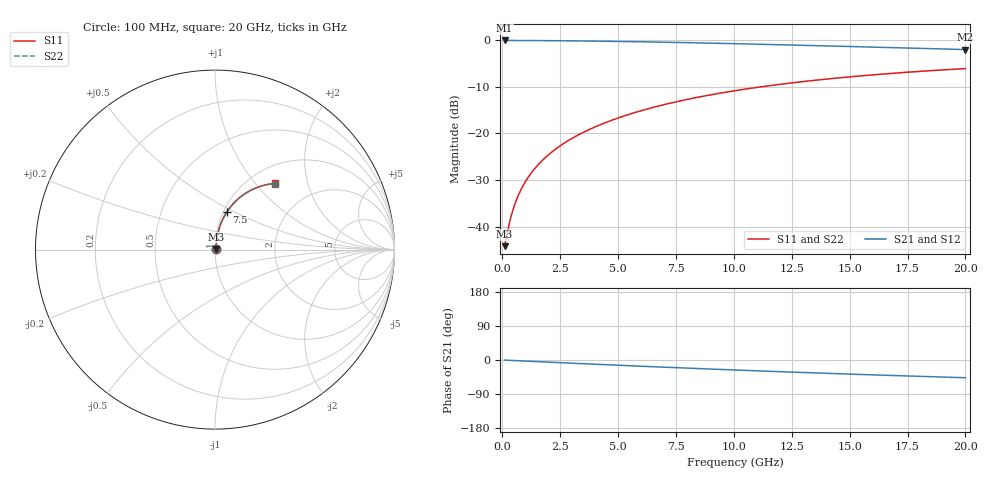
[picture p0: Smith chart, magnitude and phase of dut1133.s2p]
! Touchstone file exported from HFSS 2024.1.0
!  File:  C:/UserFiles/LocalFiles/RDL_TSV_Batchsim/temp_RDL_top_1133_1780047510.aedt
!  Generated:  05:40:42 PM May 29, 2026
!  Design:  RDL_top
!  Project:  temp_RDL_top_1133_1780047510
!  Setup:  Setup1
!  Solution:  Sweep
! Variables:
!  dtsv = 10.80580581um
!  hbump = 3um
!  htsv = 94.83um
!  ldown = 100um
!  lrdl = 577.52um
!  p = 40
!  p1 = 59.77um
!  rhole = 1um
!  t = 450um
!  tdown = 3.915915916um
!  trdl = 2.4um
!  wdown = 15.38538539um
!  wrdl = 16.39um
# GHz S MA R 50.000000
! Terminal data exported
! Port[1] = Box2_T1
! Port[2] = Box2_T2
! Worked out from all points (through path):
!   200 points, 100 MHz to 20 GHz, reference 50 ohm
!   highest |S21| = -0.05 dB at 100 MHz (marker M1); lowest = -2.0 dB at 20 GHz (marker M2)
!   group delay of S21, straight-line fit = 6.5 ps
!   lowest |S11| = -44.2 dB at 100 MHz (marker M3), VSWR 1.01, Z = 50.5 + j0.312 ohm
!   |S11| at or under -10 dB: start of sweep to 11.16 GHz
!   |S22| runs from -44.2 to -6.1 dB; largest |S21 - S12| = 3.4e-15
!   S11 on the Smith chart (normalised r, x): 100 MHz: 1.01, +0.01; 7.5 GHz: 1.04, +0.45; 20 GHz: 1.30, +1.27
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0.1  0.006192 29.9  0.9946 -0.3  0.9946 -0.3  0.006192 29.9
! Gamma 0 0 0 0
! Port Impedance 50 0 50 0
0.3  0.01077 58.6  0.9944 -0.9  0.9944 -0.9  0.01077 58.6
0.4  0.01351 64.5  0.9942 -1.2  0.9942 -1.2  0.01351 64.5
0.5  0.01631 68.3  0.994 -1.4  0.994 -1.4  0.01631 68.3
0.6  0.01914 70.9  0.9938 -1.7  0.9938 -1.7  0.01914 70.9
0.8  0.02483 74.3  0.9933 -2.3  0.9933 -2.3  0.02483 74.3
1.1  0.03339 77.0  0.9925 -3.1  0.9925 -3.1  0.03339 77.0
1.5  0.04485 78.8  0.9914 -4.3  0.9914 -4.3  0.04485 78.8
1.8  0.05349 79.5  0.9903 -5.1  0.9903 -5.1  0.05349 79.5
2.1  0.06216 79.8  0.9892 -5.9  0.9892 -5.9  0.06216 79.8
2.7  0.07958 79.9  0.9865 -7.6  0.9865 -7.6  0.07958 79.9
3.5  0.1029 79.4  0.982 -9.8  0.982 -9.8  0.1029 79.4
4.2  0.1234 78.5  0.9773 -11.7  0.9773 -11.7  0.1234 78.5
5  0.1467 77.3  0.9711 -13.8  0.9711 -13.8  0.1467 77.3
5.9  0.1728 75.8  0.9633 -16.2  0.9633 -16.2  0.1728 75.7
6.8  0.1986 74.0  0.9547 -18.5  0.9547 -18.5  0.1986 74.0
7.5  0.2185 72.7  0.9475 -20.3  0.9475 -20.3  0.2185 72.6
8.7  0.2517 70.2  0.9344 -23.2  0.9344 -23.2  0.2517 70.2
10.1  0.2892 67.2  0.9181 -26.5  0.9181 -26.5  0.2891 67.2
13.4  0.3699 60.3  0.8772 -33.9  0.8772 -33.9  0.3698 60.3
16.7  0.439 53.8  0.8353 -40.6  0.8353 -40.6  0.4389 53.8
20  0.4967 47.9  0.7946 -46.8  0.7946 -46.8  0.4966 47.9
